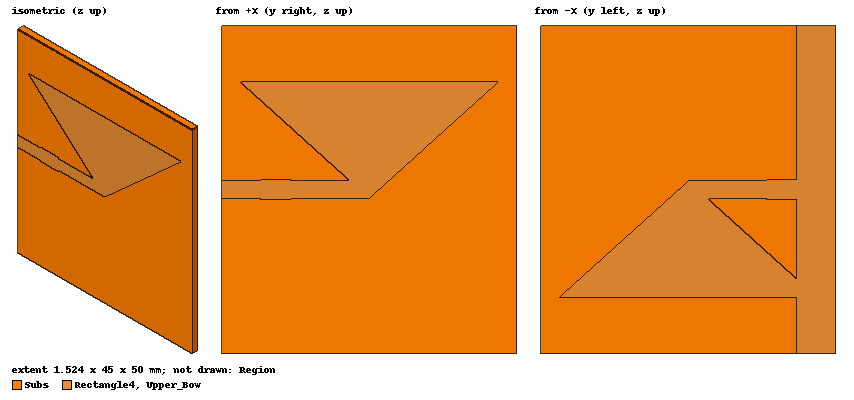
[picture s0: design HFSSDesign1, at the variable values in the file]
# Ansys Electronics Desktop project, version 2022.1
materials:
  vacuum: permittivity=1
  FR4_epoxy: permittivity=4.4 dielectric_loss_tangent=0.02
  Rogers RT/duroid 5880 (tm): permittivity=2.2 dielectric_loss_tangent=0.0009

design HFSSDesign1 (HFSS, DrivenModal, model units mm)
options: Save_Adaptive_support_files
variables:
  side_length = 26.63mm
  alpha = 48deg
  y3 = 11.9mm
  z3 = 2.6mm
  y2 = 4.6mm
  z2 = 3.2mm
  y1 = 6mm
  z1 = 2.8mm
  Subs_thick = 1.524mm
  Subs_z = 50mm
  Subs_y = 45mm
  Match_y = 3mm
  Match_z = 15mm
  dx = 0mm
  dz = 0
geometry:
  Upper_Bow = polyline((0mm, 0mm, 0mm) (0mm, side_length*sin(alpha), side_length*cos(alpha)))
  Polyline1_1 = Upper_Bow.duplicate_around_axis(axis=Z, angle=180deg, total=2)
  Polyline2 = polyline((0mm, side_length*sin(alpha), side_length*cos(alpha)) (0mm, -side_length*sin(alpha), side_length*cos(alpha)))
  Upper_Bow.unite(Polyline1_1, Polyline2)
  Upper_Bow.cover_lines()
  Rectangle1 = rectangle(corner=(0mm, 0mm, z3), y_size=-y3, z_size=-z3)
  Rectangle2 = rectangle(corner=(0mm, -y3, (z2+z3)*0.5), y_size=-y2, z_size=-z2)
  Rectangle3 = rectangle(corner=(0mm, -y2-y3, 0.5*(z1+z3)), y_size=-y1, z_size=-z1)
  Upper_Bow.unite(Rectangle1, Rectangle3, Rectangle2)
  Upper_Bow.move(0mm, 0mm, -0.5*z3)
  Lower_Bow = Upper_Bow.duplicate_around_axis(axis=Y, angle=180deg, total=2)
  Lower_Bow.move(-Subs_thick, 0mm, 0mm)
  Subs [FR4_epoxy] = box(corner=(0mm, -Subs_y/2, -Subs_z/2), size=(-Subs_thick, Subs_y, Subs_z))
  Feed = rectangle(corner=(-Subs_thick, -(y1+y2+y3), 0.5*z1), z_size=-z1, x_size=Subs_thick)
  Rectangle4 = rectangle(corner=(-Subs_thick, -Subs_y/2, 0.5*Subs_z), y_size=y1, z_size=-Subs_z)
  Rectangle4.unite(Lower_Bow)
  Matching = rectangle(corner=(0mm, 0mm, 0mm), y_size=-Match_y, z_size=Match_z)
  Matching_1 = Matching.duplicate_around_axis(axis=Y, angle=180deg, total=2)
  Matching_1.move(-Subs_thick, 0mm, 0mm)
  Upper_Bow.unite(Matching)
  Rectangle4.unite(Matching_1)
  Region [vacuum] = region(absolute_offset=100mm on all sides)
  Rectangle5 = rectangle(corner=(0mm, 0mm, 120mm), z_size=-220mm, x_size=50mm)
  Rectangle5_ObjectFromEdge2 [non-model] = object_from(Rectangle5.edge(z at corner))
  Rectangle5.delete()
  Rectangle5_ObjectFromEdge2_ObjectFromEdge1 [non-model] = object_from(Rectangle5_ObjectFromEdge2.edge(at (25, 0, 120)))
  Rectangle5_ObjectFromEdge2_ObjectFromEdge1_ObjectFromEdge1 [non-model] = object_from(Rectangle5_ObjectFromEdge2_ObjectFromEdge1.edge(at (25, 0, 120)))
  Rectangle5_ObjectFromEdge2_ObjectFromEdge1_ObjectFromEdge1.move(0mm, 0mm, -dz)
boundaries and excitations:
  PerfE1: Perfect E Objects=Rectangle4
  PerfE2: Perfect E Objects=Upper_Bow
  Rad1: Radiation Objects=Region
  1: Lumped Port Objects=Feed Modes{Mode1{IntLine{(-1.524, -22.5, 0) -> (0, -22.5, 0)} CharImp=Zpi RenormImp=50ohm}} Impedance=50ohm
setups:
  Setup1: HfssDriven Frequency=1GHz MaxDeltaS=0.02 MaximumPasses=6 MinimumPasses=1 MinimumConvergedPasses=1 PercentRefinement=30 BasisOrder=1 PortAccuracy=2 DrivenSolverType="Direct Solver"
    sweep Sweep: 0.75GHz to 4GHz step 0.025GHz; Type=Interpolating InterpTolerance=0.5 InterpMaxSolns=250 InterpUsePortImped=false PassivityErrorTolerance=0.0001
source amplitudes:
  1:1: 1W 0deg
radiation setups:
  ff_2d: Infinite Sphere Theta=-180deg..180deg step 2deg Phi=0deg..90deg step 90deg
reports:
  S Parameter Plot 1: dB(S(1,1)) vs Freq on Setup1 : Sweep; markers m1 at 1.575GHz, m2 at 2.45GHz
